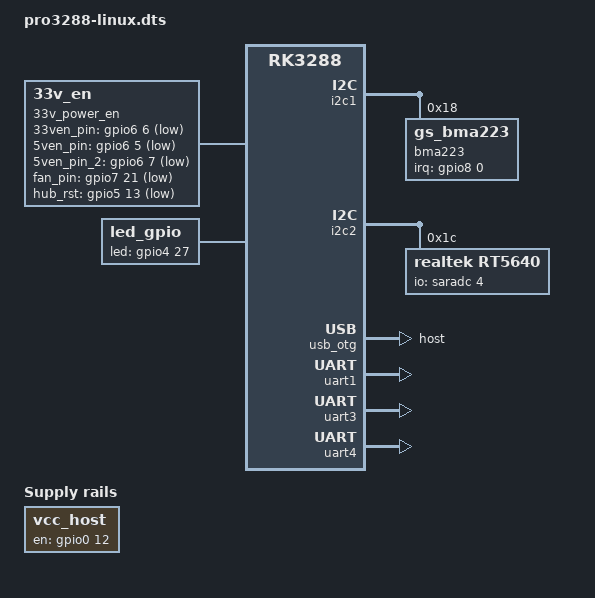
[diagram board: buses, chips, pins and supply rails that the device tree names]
#include "rk3288-evb-act8846.dtsi"

//#include "rp-lcd-hdmi.dtsi"
//#include "rp-lcd-mipi-5-720-1280.dtsi"
//#include "rp-lcd-mipi-7-800-1280.dtsi"
//#include "rp-lcd-mipi-10-1920-1200.dtsi"
//#include "rp-lcd-edp-13.3-1920-1080.dtsi"
//#include "rp-lcd-lvds-10-1024-600.dtsi"
//#include "rp-lcd-lvds-21.5-1920-1080-pro.dtsi"



#include "rp-lcd-lvds-21.5-1920-1080-pro.dtsi"

/ {
	compatible = "rockchip,pro3288-act8846", "rockchip,rk3288";

        33v_power_en {
                compatible = "33v_en";
                33ven_pin =  <&gpio6 6  1>;
                5ven_pin =   <&gpio6 5  1>;
                5ven_pin_2 = <&gpio6 7  1>; 
                fan_pin =    <&gpio7 21 1>;
                hub_rst =    <&gpio5 13 1>;
                rp_not_deep_leep = <0>;
                status = "okay";
        };


        led_gpio{
                compatible = "led_gpio";
                status = "okay";
                led_gpio =<&gpio4 27 0>;
        };


        rp_gpio{
                status = "okay";
                compatible = "rp_gpio";
                base_value = <0>;
                gpio1 {
                        gpio_num = <&gpio0 1 GPIO_ACTIVE_HIGH>;		
                        gpio_function = <0>;            //0:output 1:input
                        //gpio_event = <KEY_F14>;
                        //send_mode = <0>;  
                };
                gpio2 {
                        gpio_num = <&gpio0 3 GPIO_ACTIVE_HIGH>;
                        gpio_function = <0>;            //0:output 1:input
                        //gpio_event = <KEY_F14>;
                        //send_mode = <0>;  
                };
                gpio3 {
                        gpio_num = <&gpio0 6 GPIO_ACTIVE_HIGH>;
                        gpio_function = <0>;            //0:output 1:input
                        //gpio_event = <KEY_F14>;
                        //send_mode = <0>;  
                };
                gpio4 {
                        gpio_num = <&gpio0 7 GPIO_ACTIVE_HIGH>;
                        gpio_function = <0>;            //0:output 1:input
                        //gpio_event = <KEY_F14>;
                        //send_mode = <0>; 
                };

                gpio5 {
                        gpio_num = <&gpio0 11 GPIO_ACTIVE_HIGH>;
                        gpio_function = <0>;            //0:output 1:input
                        //gpio_event = <KEY_F14>;
                        //send_mode = <0>; 
                };

                gpio6 {
                        gpio_num = <&gpio0 13 GPIO_ACTIVE_HIGH>;
                        gpio_function = <0>;            //0:output 1:input
                        //gpio_event = <KEY_F14>;
                        //send_mode = <0>; 
                };
        };

        /* This turns on USB vbus for both host0 (ehci) and host1 (dwc2) */
        vcc_host: vcc-host-regulator {
                compatible = "regulator-fixed";
                enable-active-high;
                gpio = <&gpio0 12 GPIO_ACTIVE_HIGH>;
                pinctrl-names = "default";
                pinctrl-0 = <&host_vbus_drv>;
                regulator-name = "vcc_host";
                regulator-always-on;
                regulator-boot-on;
        };


   	rt5640-sound {
                status = "okay";
                compatible = "simple-audio-card";
                simple-audio-card,format = "i2s";
                simple-audio-card,name = "rockchip,rt5640-codec";
                simple-audio-card,mclk-fs = <256>;

                simple-audio-card,widgets =
                        "Microphone", "Mic Jack",
                        "Headphone", "Headphone Jack",
                        "Speaker", "Speaker";
                simple-audio-card,routing =
                        "Mic Jack", "MICBIAS1",
                        "IN1P", "Mic Jack",
                        "Headphone Jack", "HPOL",
                        "Headphone Jack", "HPOR",
                        "Speaker", "SPOLP",
                        "Speaker", "SPOLN",
                        "Speaker", "SPORP",
                        "Speaker", "SPORN";
                simple-audio-card,dai-link@0 {
                        format = "i2s";
                        cpu {
                                sound-dai = <&i2s>;
                        };

                        codec {
                                sound-dai = <&rt5640>;
                        };
                };
	};


};



&i2c1 {
        status = "okay";

        bma223: bma223@18{
                status = "okay";
                compatible = "gs_bma223";
                reg = <0x18>;
                type = <2>;
                irq-gpio = <&gpio8 0 IRQ_TYPE_EDGE_RISING>;
                irq_enable = <0>;
                poll_delay_ms = <200>;
                layout = <8>;
        };

};

&i2c2 {
        status = "okay";

        rt5640: rt5640@1c {
                #sound-dai-cells = <0>;
                compatible = "realtek,rt5640";
                reg = <0x1c>;
                clocks = <&cru SCLK_I2S0_OUT>;
                clock-names = "mclk";
                pinctrl-names = "default";
                pinctrl-0 = <&i2s0_mclk>;
		io-channels = <&saradc 4>;
                hp-det-adc-value = <500>;
		realtek,in1-differential;
        };
};

&usb_otg {
        status = "okay";
        dr_mode = "host";
};


&uart1 {
	status = "okay";
};

&uart3 {
	status = "okay";
};

&uart4 {
	status = "okay";
};

&pinctrl {
        usb {
                host_vbus_drv: host-vbus-drv {
                        rockchip,pins = <0 12 RK_FUNC_GPIO &pcfg_pull_none>;
                };
        };
		/////for pro3288 reelectrify cannot display
	pwr_5v {
			pwr_en: pwr-en {
				rockchip,pins = <6 5 RK_FUNC_GPIO &pcfg_pull_up>,
						<6 6 RK_FUNC_GPIO &pcfg_pull_up>;
			};
	};
};

&dsi0 {
              /////for pro3288 reelectrify cannot display
	pinctrl-names = "default";
	pinctrl-0 = <&pwr_en>;
};


